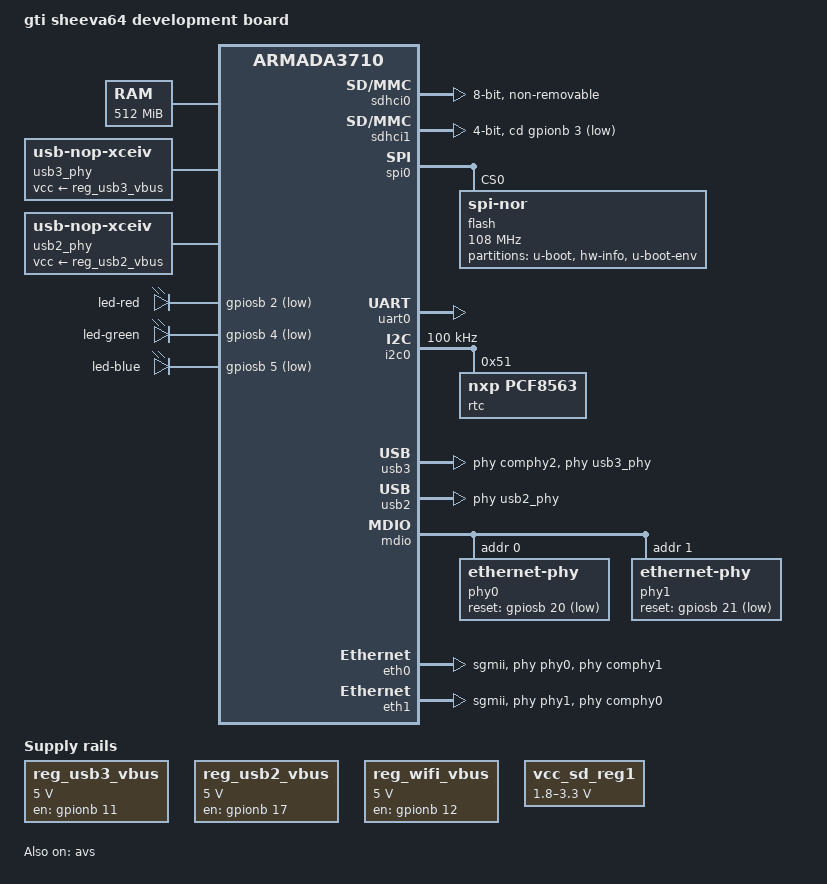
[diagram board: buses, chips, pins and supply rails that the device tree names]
// SPDX-License-Identifier: (GPL-2.0+ OR MIT)
/*
 * Device Tree file for GTI Armada 3720 Cellular-CPE board hw.v0
 * Copyright (C) 2019 Globalscale technologies, Inc.
 *
 * Jason Hung <jhung@globalscaletechnologies.com>
 */

/dts-v1/;

#include <dt-bindings/gpio/gpio.h>
#include "armada-372x.dtsi"

/ {
	model = "gti sheeva64 development board";
	compatible = "gti,armada-3720-sheeva64-r5","gti,armada-3720-sheeva64",
				 "marvell,armada3720", "marvell,armada3710";

	aliases {
		ethernet0 = &eth0;
		ethernet1 = &eth1;
	};

	chosen {
		stdout-path = "serial0:115200n8";
	};

	memory@0 {
		device_type = "memory";
		reg = <0x00000000 0x00000000 0x00000000 0x20000000>;
	};

	reg_usb3_vbus: usb3-vbus {
		compatible = "regulator-fixed";
		regulator-name = "usb3-vbus";
		regulator-min-microvolt = <5000000>;
		regulator-max-microvolt = <5000000>;
		enable-active-high;
		regulator-always-on;
		gpio = <&gpionb 11 GPIO_ACTIVE_HIGH>;
	};

	reg_usb2_vbus: usb2-vbus {
		compatible = "regulator-fixed";
		regulator-name = "usb2-vbus";
		regulator-min-microvolt = <5000000>;
		regulator-max-microvolt = <5000000>;
		enable-active-high;
		regulator-always-on;
		gpio = <&gpionb 17 GPIO_ACTIVE_HIGH>;
	};

	reg_wifi_vbus: wifi-vbus {
		compatible = "regulator-fixed";
		regulator-name = "wifi-vbus";
		regulator-min-microvolt = <5000000>;
		regulator-max-microvolt = <5000000>;
		enable-active-high;
		regulator-boot-on;
		regulator-always-on;
		gpio = <&gpionb 12 GPIO_ACTIVE_HIGH>;
	};

	vcc_sd_reg1: regulator {
		compatible = "regulator-gpio";
		regulator-name = "vcc_sd1";
		regulator-min-microvolt = <1800000>;
		regulator-max-microvolt = <3300000>;
		regulator-boot-on;

		gpios = <&gpionb 4 GPIO_ACTIVE_HIGH>;
		gpios-states = <0>;
		states = <1800000 0x1 3300000 0x0>;
		enable-active-high;
	};

	usb3_phy: usb3-phy {
		compatible = "usb-nop-xceiv";
		vcc-supply = <&reg_usb3_vbus>;
	};

	usb2_phy: usb2-phy {
		compatible = "usb-nop-xceiv";
		vcc-supply = <&reg_usb2_vbus>;
	};

	gpio-leds {
		compatible = "gpio-leds";
		red {
			label = "led-red";
			gpios = <&gpiosb 2 GPIO_ACTIVE_LOW>;
			linux,default-trigger = "none";
		};
		green {
			label = "led-green";
			gpios = <&gpiosb 4 GPIO_ACTIVE_LOW>;
			linux,default-trigger = "none";
		};
		blue {
			label = "led-blue";
			gpios = <&gpiosb 5 GPIO_ACTIVE_LOW>;
			linux,default-trigger = "none";
		};
	};
};

&avs {
	status = "okay";
};

&sdhci0 {
	pinctrl-names = "default";
	pinctrl-0 = <&mmc_pins>;
	non-removable;
	bus-width = <8>;
	mmc-ddr-1_8v;
	mmc-hs400-1_8v;
	marvell,pad-type = "fixed-1-8v";
	status = "okay";
};

&sdhci1 {
	pinctrl-names = "default";
	pinctrl-0 = <&sdio_pins>;
	wp-inverted;
	bus-width = <4>;
	cd-gpios = <&gpionb 3 GPIO_ACTIVE_LOW>;
	marvell,pad-type = "sd";
	vqmmc-supply = <&vcc_sd_reg1>;
	status = "okay";
};

&spi0 {
	status = "okay";
	pinctrl-names = "default";
	pinctrl-0 = <&spi_quad_pins>;

	flash@0 {
		compatible = "jedec,spi-nor";
		reg = <0>;
		spi-max-frequency = <108000000>;
		spi-rx-bus-width = <4>;
		spi-tx-bus-width = <4>;
		m25p,fast-read;

		partitions {
			compatible = "fixed-partitions";
			#address-cells = <1>;
			#size-cells = <1>;

			partition@0 {
				label = "u-boot";
				reg = <0x0 0x3e0000>;
			};
			partition@3e0000 {
				label = "hw-info";
				reg = <0x3e0000 0x10000>;
				read-only;
			};
			partition@3f0000 {
				label = "u-boot-env";
				reg = <0x3f0000 0x10000>;
			};
		};
	};
};

&uart0 {
	pinctrl-names = "default";
	pinctrl-0 = <&uart1_pins>;
	status = "okay";
};

&i2c0 {
	pinctrl-names = "default";
	pinctrl-0 = <&i2c1_pins>;
	status = "okay";

	clock-frequency = <100000>;

	rtc@51 {
		compatible = "nxp,pcf8563";
		reg = <0x51>;
	};
};

&usb3 {
	phys = <&comphy2 0>, <&usb2_utmi_otg_phy>;
	usb-phy = <&usb3_phy>;
	status = "okay";
};

&usb2 {
	usb-phy = <&usb2_phy>;
	status = "okay";
};

&mdio {
	status = "okay";

	phy0: ethernet-phy@0 {
		reset-gpios = <&gpiosb 20 GPIO_ACTIVE_LOW>;
		reg = <0>;
	};
	phy1: ethernet-phy@1 {
		reset-gpios = <&gpiosb 21 GPIO_ACTIVE_LOW>;
		reg = <1>;
	};
};

&eth0 {
	pinctrl-names = "default";
	pinctrl-0 = <&rgmii_pins>, <&smi_pins>;
	phy-mode = "sgmii";
	phys = <&comphy1 0>;
	phy = <&phy0>;
	status = "okay";
};

&eth1 {
	phy-mode = "sgmii";
	phys = <&comphy0 1>;
	phy = <&phy1>;
	status = "okay";
};
